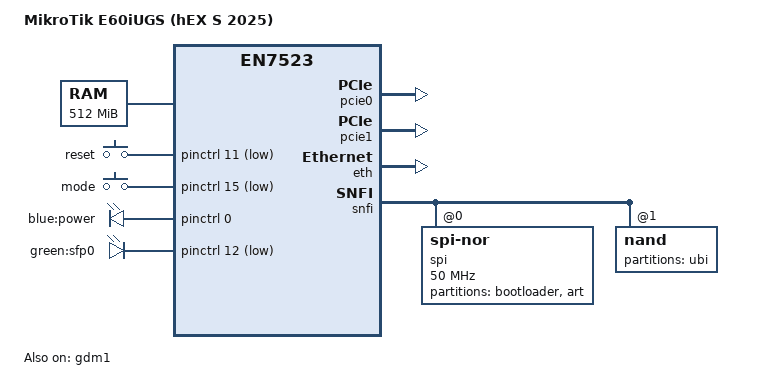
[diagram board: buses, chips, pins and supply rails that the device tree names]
// SPDX-License-Identifier: (GPL-2.0-only OR BSD-2-Clause)
/dts-v1/;

/* Bootloader installs ATF here */
/memreserve/ 0x80000000 0x200000;

#include <dt-bindings/input/linux-event-codes.h>
#include "en7523.dtsi"

/ {
	model = "MikroTik E60iUGS (hEX S 2025)";
	compatible = "mikrotik,e60iugs", "airoha,en7523";

	aliases {
		serial0 = &uart1;
	};

	chosen {
		bootargs = "console=ttyS0,115200 earlycon";
		stdout-path = "serial0:115200n8";
		linux,usable-memory-range = <0x80200000 0x1fe00000>;
	};

	memory@80000000 {
		device_type = "memory";
		reg = <0x80000000 0x20000000>;
	};

	keys {
		compatible = "gpio-keys-polled";
		poll-interval = <100>;

		reset {
			label = "reset";
			linux,code = <KEY_RESTART>;
			gpios = <&pinctrl 11 GPIO_ACTIVE_LOW>;
			default-state = "off";
			debounce-interval = <60>;
		};

		mode {
			label = "mode";
			debounce-interval = <60>;
			gpios = <&pinctrl 15 GPIO_ACTIVE_LOW>;
		};
	};

	leds {
		compatible = "gpio-leds";

		led@0 {
			gpios = <&pinctrl 0 GPIO_ACTIVE_HIGH>;
			label = "blue:power";
			default-state = "on";
		};

		led@12 {
			gpios = <&pinctrl 12 GPIO_ACTIVE_LOW>;
			label = "green:sfp0";
			default-state = "off";
		};
	};
};

&pcie0 {
	status = "okay";
};

&pcie1 {
	status = "okay";
};

&eth {
	status = "okay";
};

&gdm1 {
	status = "okay";
};

&snfi {
	status = "okay";

	spi@0 {
		compatible = "jedec,spi-nor";
		reg = <0>;
		spi-max-frequency = <50000000>;
		spi-tx-bus-width = <1>;
		spi-rx-bus-width = <2>;

		partitions {
			compatible = "fixed-partitions";
			#address-cells = <1>;
			#size-cells = <1>;

			partition@0 {
				label = "bootloader";
				reg = <0x000000 0x0f0000>;
			};

			partition@fa000 {
				label = "art";
				reg = <0x0f0000 0x010000>;
				read-only;
			};
		};
	};

	nand@0 {
		reg = <1>;

		partitions {
			compatible = "fixed-partitions";
			#address-cells = <1>;
			#size-cells = <1>;

			partition@0 {
				label = "ubi";
				reg = <0x0 0x8000000>;
			};
		};
	};
};
